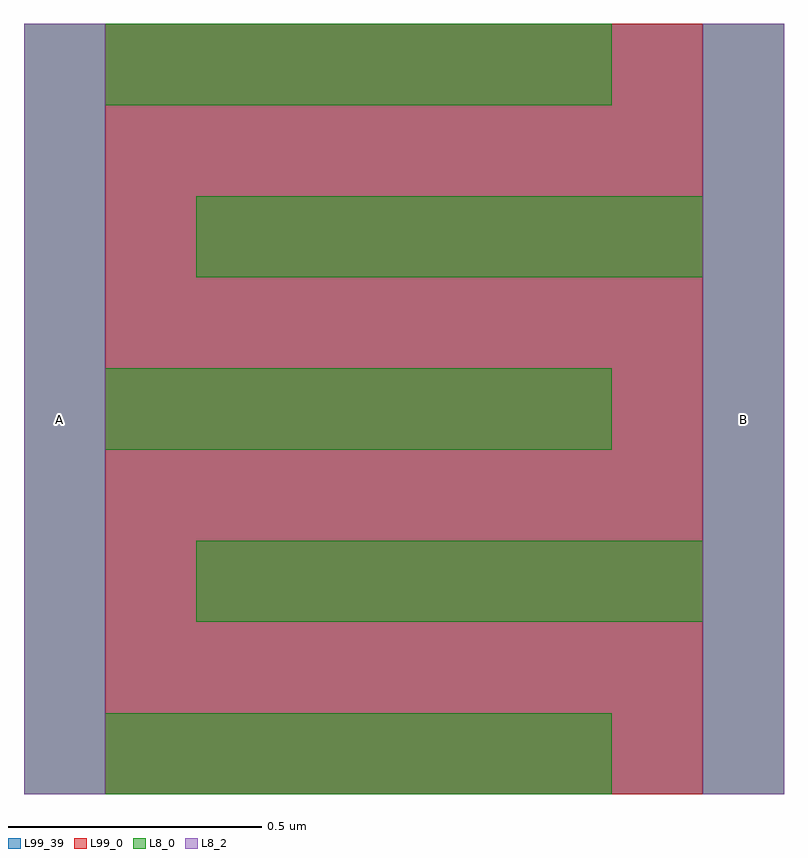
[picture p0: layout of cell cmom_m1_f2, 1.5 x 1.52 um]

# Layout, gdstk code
import gdstk
lib = gdstk.Library(unit=1e-6, precision=5e-09)
def R(c, l, rs):  # rectangles x0, y0, x1, y1
    for r in rs: c.add(gdstk.rectangle(r[:2], r[2:], *l))
def A(c, l, x, y, w, h, nx, ny, dx, dy):  # array of equal rectangles
    R(c, l, [(x+i*dx, y+j*dy, x+i*dx+w, y+j*dy+h) for i in range(nx) for j in range(ny)])
L8_0 = (8, 0)
L8_2 = (8, 2)
L99_0 = (99, 0)
L99_39 = (99, 39)

cmom_m1_f2 = lib.new_cell('cmom_m1_f2')
A(cmom_m1_f2, L8_0, 0, -1.52, 1, 0.16, 1, 3, 0, 0.68)
R(cmom_m1_f2, L8_0, [(-0.16,-1.52,0,0), (1.18,-1.52,1.34,0), (0.18,-1.18,1.18,-1.02), (0.18,-0.5,1.18,-0.34)])
R(cmom_m1_f2, L8_2, [(-0.16,-1.52,0,0), (1.18,-1.52,1.34,0)])
R(cmom_m1_f2, L99_0, [(0,-1.52,1.18,0)])
R(cmom_m1_f2, L99_39, [(0,-1.52,1.18,0)])
cmom_m1_f2.add(gdstk.Label('A', (-0.09,-0.78), layer=8, texttype=25))
cmom_m1_f2.add(gdstk.Label('B', (1.26,-0.78), layer=8, texttype=25))

lib.write_gds('cmom_m1_f2.gds')
